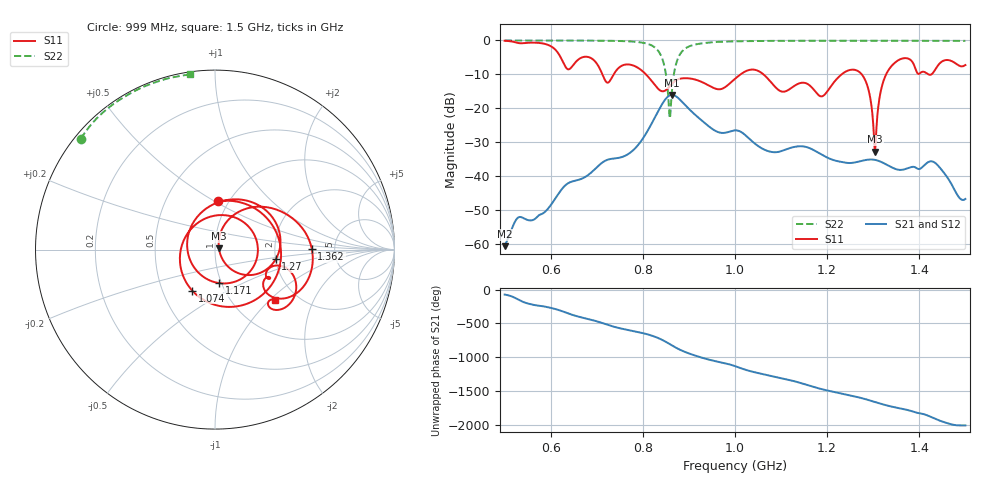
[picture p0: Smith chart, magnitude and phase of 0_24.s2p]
! TOUCHSTONE file generated by CST MICROWAVE STUDIO
! Date and time: Sat Oct 24 10:46:10 2020
! Project name: Scenario_1_Planar_Body_Tissue_Center.cst
! Parameters = {hfat=3; hmuscle=50; hskin=1.5; hgap=25; Wtissue=700; Ltissue=700; L_HA=400; MT=2.54; Rad_Dielectric=30; Rad_Lower=7.3; Rad_Upper=30; a_HA=580; a_WG=246; b_HA=500; b_WG=121; c_HA=0; c_WG=187; d_feed=85; dx1=571.36; h_feed=15; h_lower=18; h_upper=40}
! Header version: 2018
! Port assignment regex: !\s*Touchstone port\s*([0-9]+)\s*=\s*(CST MWS port|CST DS port)\s*([0-9]+|Zmin|Zmax)\s*\(\"(.*)\"\)(\s*mode\s*([0-9]+))?.*
! Touchstone port assignment:
! Touchstone port 1 = CST MWS port 1 ("")
! Touchstone port 2 = CST MWS port 2 ("")
# GHz S DB R 50
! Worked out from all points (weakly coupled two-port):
!   1003 points, 500 MHz to 1.5 GHz, reference 50 ohm
!   highest |S21| = -16.01 dB at 863 MHz (marker M1); lowest = -60.5 dB at 500 MHz (marker M2)
!   lowest |S11| = -32.7 dB at 1.304 GHz (marker M3), VSWR 1.05, Z = 52.3 + j0.688 ohm
!   |S11| at or under -10 dB: 806.8 MHz to 1.012 GHz (205 MHz wide, 22.5 % of centre); 1.062 GHz to 1.231 GHz (169.5 MHz wide, 14.8 % of centre); 1.275 GHz to 1.328 GHz (52.76 MHz wide, 4.05 % of centre)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
!   |S22| runs from -22.9 to 0.0 dB; largest |S21 - S12| = 2.2e-05
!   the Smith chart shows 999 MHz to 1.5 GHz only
!   S11 on the Smith chart (normalised r, x): 999 MHz: 0.90, +0.52; 1.074 GHz: 0.71, -0.35; 1.171 GHz: 0.98, -0.38; 1.27 GHz: 2.00, -0.24; 1.362 GHz: 3.34, +0.02; 1.5 GHz: 1.55, -1.07
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0.5  -0.10 -122.4  -60.52 -72.2  -60.52 -72.2  -0.01 151.1
0.667  -5.05 159.0  -40.70 -51.5  -40.70 -51.5  -0.04 138.4
0.714  -10.55 27.7  -35.74 -139.1  -35.74 -139.1  -0.08 133.1
0.758  -7.24 175.2  -34.14 136.3  -34.14 136.3  -0.20 125.9
0.791  -8.19 96.9  -30.54 90.0  -30.54 90.0  -0.50 116.7
0.834  -14.34 -36.8  -20.64 1.2  -20.64 1.2  -3.19 85.0
0.863  -12.79 -171.6  -16.01 -105.5  -16.01 -105.5  -15.06 -122.8
0.897  -11.12 68.3  -19.73 142.7  -19.73 142.7  -1.97 170.3
0.95  -13.75 -82.7  -25.97 32.1  -25.97 32.1  -0.55 149.1
0.999  -11.41 86.0  -26.47 -50.3  -26.47 -50.4  -0.27 140.4
1  -11.30 82.9  -26.46 -52.7  -26.46 -52.7  -0.27 140.3
1.034  -8.60 -10.5  -29.29 -129.2  -29.29 -129.2  -0.19 136.1
1.074  -11.65 -118.9  -32.65 169.2  -32.65 169.2  -0.14 132.1
1.12  -14.20 80.6  -31.62 98.7  -31.61 98.7  -0.11 128.0
1.167  -13.87 -67.0  -32.00 5.0  -32.00 5.0  -0.09 124.2
1.171  -14.49 -82.4  -32.28 -2.9  -32.28 -2.9  -0.09 123.9
1.225  -10.77 73.9  -35.59 -90.9  -35.59 -90.9  -0.09 119.7
1.27  -9.30 -8.9  -35.58 -158.5  -35.59 -158.5  -0.08 116.4
1.304  -32.72 16.5  -35.14 134.6  -35.14 134.6  -0.08 113.8
1.334  -8.54 39.1  -36.90 76.7  -36.90 76.7  -0.09 111.5
1.362  -5.36 0.2  -38.07 36.1  -38.07 36.1  -0.09 109.4
1.5  -7.24 -40.1  -46.63 147.8  -46.63 147.8  -0.13 98.0
